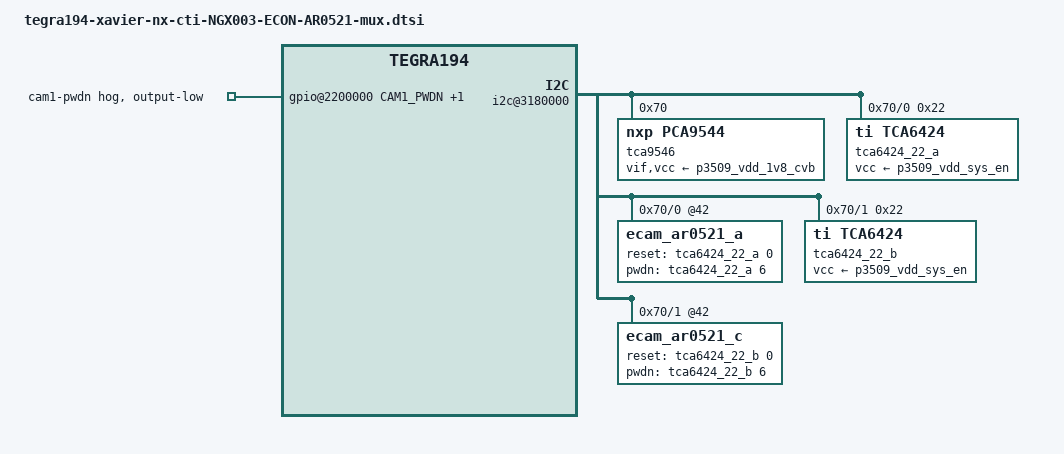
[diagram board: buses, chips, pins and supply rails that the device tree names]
/*
 * Copyright (c) 2018-2019, NVIDIA CORPORATION.  All rights reserved.
 *
 * This program is free software; you can redistribute it and/or modify
 * it under the terms of the GNU General Public License as published by
 * the Free Software Foundation; either version 2 of the License, or
 * (at your option) any later version.
 *
 * This program is distributed in the hope that it will be useful, but WITHOUT
 * ANY WARRANTY; without even the implied warranty of MERCHANTABILITY or
 * FITNESS FOR A PARTICULAR PURPOSE.  See the GNU General Public License for
 * more details.
 *
 * You should have received a copy of the GNU General Public License
 * along with this program.  If not, see <http://www.gnu.org/licenses/>.
 */
#include "tegra194-xavier-nx-cti-NGX003-ECON-AR0521.dtsi"


#define CAM1_PWDN	TEGRA194_MAIN_GPIO(P, 4)
#define CAM2_PWDN	TEGRA194_MAIN_GPIO(P, 5)

#define CAMERA_I2C_MUX_BUS(x) (0x1E + x)

/* camera control gpio definitions */

/ {	

	gpio@2200000 {
		camera-control-output-low {
			gpio-hog;
			output-low;
			gpios = <CAM1_PWDN 0 CAM2_PWDN 0>;
			label = "cam1-pwdn","cam2-pwdn";
		};
	};
	
	i2c@3180000 {
		tca9546@70 {
			compatible = "nxp,pca9544";
			reg = <0x70>;
			#address-cells = <1>;
			#size-cells = <0>;			
			//skip_mux_detect = "yes";
			vif-supply = <&p3509_vdd_1v8_cvb>;
			vcc-supply = <&p3509_vdd_1v8_cvb>;
			vcc_lp = "vcc";

			i2c@0 {
				status = "okay";
				reg = <0>;	
				i2c-mux,deselect-on-exit;
				#address-cells = <1>;
				#size-cells = <0>;
			
				tca6424_22_a: tca6424@22 {
			    		compatible = "ti,tca6424";
			    		gpio-controller;
			    		#gpio-cells = <2>;
			    		reg = <0x22>;
					vcc-supply = <&p3509_vdd_sys_en>;
			    		status = "okay";
			    		tca6424_22_outlow {
			    			/*
				 		* GPIO-0 : RST_CAM1
				 		* GPIO-1 : RST_CAM2
				 		* GPIO-2 : RST_CAM3
				 		* .... more is there
				 		*/
				 		gpio-hog;
				 		gpios = <0 0 1 0 2 0 3 0 4 0 5 0 6 0 7 0>;
				 		output-low;
				 		label = "tca6424_22_outlow_0",
				         		"tca6424_22_outlow_1",
				         		"tca6424_22_outlow_2",
				         		"tca6424_22_outlow_3",
				         		"tca6424_22_outlow_4",
				         		"tca6424_22_outlow_5",
				         		"tca6424_22_outlow_6",
				         		"tca6424_22_outlow_7";
			    		};
			    		tca6424_22_outhigh {
			            		status = "disabled";
			    		};
			    		tca6424_22_input {
			            		status = "disabled";
			    		};  
				};			
				ecam_ar0521_a@42 {
					reset-gpios = <&tca6424_22_a 0 GPIO_ACTIVE_HIGH>;
					pwdn-gpios  = <&tca6424_22_a 6 GPIO_ACTIVE_HIGH>;
				};	
			};
			
			i2c@1 {
				status = "okay";
				reg = <1>;
				i2c-mux,deselect-on-exit;
				#address-cells = <1>;
				#size-cells = <0>;

				tca6424_22_b: tca6424@22 {
			    		compatible = "ti,tca6424";
			   	 	gpio-controller;
			    		#gpio-cells = <2>;
			    		reg = <0x22>;
					vcc-supply = <&p3509_vdd_sys_en>;
			    		status = "okay";
			    		tca6424_22_outlow {
			    			/*
				 		 * GPIO-0 : RST_CAM1
				 		 * GPIO-1 : RST_CAM2
				  		 * GPIO-2 : RST_CAM3
				 		 * .... more is there
				 		 */
				 		gpio-hog;
				 		gpios = <0 0 1 0 2 0 3 0 4 0 5 0 6 0 7 0>;
				 		output-low;
				 		label = "tca6424_22_outlow_0",
				         		"tca6424_22_outlow_1",
				         		"tca6424_22_outlow_2",
				         		"tca6424_22_outlow_3",
				         		"tca6424_22_outlow_4",
				         		"tca6424_22_outlow_5",
				         		"tca6424_22_outlow_6",
				         		"tca6424_22_outlow_7";
			    		};
			    		tca6424_22_outhigh {
			            		status = "disabled";
			    		};
			    		tca6424_22_input {
			            		status = "disabled";
			    		};
				};
				ecam_ar0521_c@42 {
					reset-gpios = <&tca6424_22_b 0 GPIO_ACTIVE_HIGH>;
					pwdn-gpios  = <&tca6424_22_b 6 GPIO_ACTIVE_HIGH>;
				};
			};
		};
	};
};
